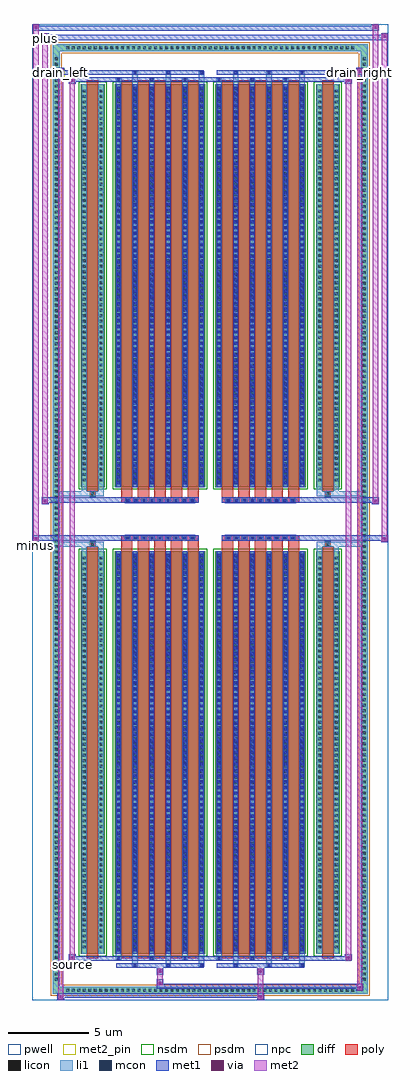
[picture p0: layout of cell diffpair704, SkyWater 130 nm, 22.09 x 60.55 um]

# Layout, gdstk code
import gdstk
lib = gdstk.Library(unit=1e-6, precision=5e-09)
def R(c, l, rs):  # rectangles x0, y0, x1, y1
    for r in rs: c.add(gdstk.rectangle(r[:2], r[2:], *l))
def A(c, l, x, y, w, h, nx, ny, dx, dy):  # array of equal rectangles
    R(c, l, [(x+i*dx, y+j*dy, x+i*dx+w, y+j*dy+h) for i in range(nx) for j in range(ny)])
def P(c, l, *ps):  # polygons
    for p in ps: c.add(gdstk.Polygon(p, *l))
pwell = (64, 44)
diff = (65, 20)
poly = (66, 20)
licon = (66, 44)
li1 = (67, 20)
mcon = (67, 44)
met1 = (68, 20)
via = (68, 44)
met2_pin = (69, 16)
met2 = (69, 20)
nsdm = (93, 44)
psdm = (94, 20)
npc = (95, 20)

diffpair704 = lib.new_cell('diffpair704')
R(diffpair704, pwell, [(-11.03,-29.84,11.03,30.71), (-8.35,-28.03,-0.01,-0.805), (0.01,-28.03,8.35,-0.805), (-8.35,0.805,-0.01,28.03), (0.01,0.805,8.35,28.03)])
A(diffpair704, diff, -9.045, -29.44, 0.41, 0.41, 53, 2, 0.34, 58.47)
A(diffpair704, diff, -9.76, -28.765, 0.41, 0.41, 1, 169, 0, 0.34)
A(diffpair704, diff, 9.35, -28.765, 0.41, 0.41, 1, 169, 0, 0.34)
R(diffpair704, diff, [(-9.045,-29.44,9.045,-29.03), (-9.76,-28.765,-9.35,28.765), (9.35,-28.765,9.76,28.765), (-8.04,-26.985,-6.56,-1.985), (-5.92,-26.985,-0.32,-1.985), (0.32,-26.985,5.92,-1.985), (6.56,-26.985,8.04,-1.985), (-8.04,1.985,-6.56,26.985), (-5.92,1.985,-0.32,26.985), (0.32,1.985,5.92,26.985), (6.56,1.985,8.04,26.985), (-9.045,29.03,9.045,29.44)])
P(diffpair704, diff, [(9.76,29.44),(-9.76,29.44),(-9.76,-29.03),(-9.35,-29.03),(-9.35,29.03),(9.35,29.03),(9.35,-29.03),(-9.35,-29.03),(-9.76,-29.03),(-9.76,-29.44),(9.76,-29.44)])
A(diffpair704, poly, -5.53, -27.235, 0.7, 25.5, 5, 2, 1.03, 28.97)
A(diffpair704, poly, 0.71, -27.235, 0.7, 25.5, 5, 2, 1.03, 28.97)
A(diffpair704, poly, -5.53, -1.735, 0.7, 0.4, 5, 2, 1.03, 3.07)
A(diffpair704, poly, 0.71, -1.735, 0.7, 0.4, 5, 2, 1.03, 3.07)
A(diffpair704, poly, -5.285, -1.335, 0.33, 0.33, 9, 2, 0.5, 2.34)
A(diffpair704, poly, 0.955, -1.335, 0.33, 0.33, 9, 2, 0.5, 2.34)
R(diffpair704, poly, [(-7.65,-27.235,-6.95,-1.735), (6.95,-27.235,7.65,-1.735), (-7.465,-1.735,-7.135,-1.405), (-7.465,-1.735,-7.135,-1.405), (7.135,-1.735,7.465,-1.405), (7.135,-1.735,7.465,-1.405), (-5.53,-1.335,-0.71,-1.005), (0.71,-1.335,5.53,-1.005), (-5.53,1.005,-0.71,1.335), (0.71,1.005,5.53,1.335), (-7.465,1.405,-7.135,1.735), (-7.465,1.405,-7.135,1.735), (7.135,1.405,7.465,1.735), (7.135,1.405,7.465,1.735), (-7.65,1.735,-6.95,27.235), (6.95,1.735,7.65,27.235)])
A(diffpair704, licon, -8.925, -29.32, 0.17, 0.17, 53, 2, 0.34, 58.47)
A(diffpair704, licon, -9.64, -28.645, 0.17, 0.17, 1, 169, 0, 0.34)
A(diffpair704, licon, 9.47, -28.645, 0.17, 0.17, 1, 169, 0, 0.34)
A(diffpair704, licon, -7.9, -26.64, 0.17, 0.17, 1, 72, 0, 0.34)
A(diffpair704, licon, -6.87, -26.64, 0.17, 0.17, 1, 72, 0, 0.34)
A(diffpair704, licon, -5.78, -26.64, 0.17, 0.17, 6, 72, 1.03, 0.34)
A(diffpair704, licon, 0.46, -26.64, 0.17, 0.17, 6, 72, 1.03, 0.34)
A(diffpair704, licon, 6.7, -26.64, 0.17, 0.17, 1, 72, 0, 0.34)
A(diffpair704, licon, 7.73, -26.64, 0.17, 0.17, 1, 72, 0, 0.34)
A(diffpair704, licon, -5.205, -1.255, 0.17, 0.17, 9, 2, 0.5, 2.34)
A(diffpair704, licon, 1.035, -1.255, 0.17, 0.17, 9, 2, 0.5, 2.34)
A(diffpair704, licon, -7.9, 2.33, 0.17, 0.17, 1, 72, 0, 0.34)
A(diffpair704, licon, -6.87, 2.33, 0.17, 0.17, 1, 72, 0, 0.34)
A(diffpair704, licon, -5.78, 2.33, 0.17, 0.17, 6, 72, 1.03, 0.34)
A(diffpair704, licon, 0.46, 2.33, 0.17, 0.17, 6, 72, 1.03, 0.34)
A(diffpair704, licon, 6.7, 2.33, 0.17, 0.17, 1, 72, 0, 0.34)
A(diffpair704, licon, 7.73, 2.33, 0.17, 0.17, 1, 72, 0, 0.34)
R(diffpair704, licon, [(-7.385,-1.655,-7.215,-1.485), (7.215,-1.655,7.385,-1.485), (-7.385,1.485,-7.215,1.655), (7.215,1.485,7.385,1.655)])
A(diffpair704, li1, -9.005, -29.4, 0.33, 0.33, 53, 2, 0.34, 58.47)
A(diffpair704, li1, -9.72, -28.725, 0.33, 0.33, 1, 169, 0, 0.34)
A(diffpair704, li1, 9.39, -28.725, 0.33, 0.33, 1, 169, 0, 0.34)
A(diffpair704, li1, -4.83, -27.79, 0.33, 0.805, 3, 2, 2.06, 54.775)
A(diffpair704, li1, -4.75, -27.79, 0.17, 0.17, 3, 2, 2.06, 55.41)
A(diffpair704, li1, 1.41, -27.79, 0.33, 0.805, 3, 2, 2.06, 54.775)
A(diffpair704, li1, 1.49, -27.79, 0.17, 0.17, 3, 2, 2.06, 55.41)
A(diffpair704, li1, -5.86, -27.36, 0.33, 0.375, 3, 2, 2.06, 54.345)
A(diffpair704, li1, -5.78, -27.36, 0.17, 0.17, 3, 2, 2.06, 54.55)
A(diffpair704, li1, 0.38, -27.36, 0.33, 0.375, 3, 2, 2.06, 54.345)
A(diffpair704, li1, 0.46, -27.36, 0.17, 0.17, 3, 2, 2.06, 54.55)
A(diffpair704, li1, -5.86, -26.985, 0.33, 25, 6, 2, 1.03, 28.97)
A(diffpair704, li1, 0.38, -26.985, 0.33, 25, 6, 2, 1.03, 28.97)
A(diffpair704, li1, -5.78, -26.81, 0.17, 0.17, 6, 69, 1.03, 0.36)
A(diffpair704, li1, -5.78, -26.81, 0.17, 24.65, 6, 2, 1.03, 28.97)
A(diffpair704, li1, 0.46, -26.81, 0.17, 0.17, 6, 69, 1.03, 0.36)
A(diffpair704, li1, 0.46, -26.81, 0.17, 24.65, 6, 2, 1.03, 28.97)
A(diffpair704, li1, -7.98, -26.72, 0.33, 0.33, 1, 72, 0, 0.34)
A(diffpair704, li1, -6.95, -26.72, 0.33, 0.33, 1, 72, 0, 0.34)
A(diffpair704, li1, -5.86, -26.72, 0.33, 0.33, 6, 72, 1.03, 0.34)
A(diffpair704, li1, 0.38, -26.72, 0.33, 0.33, 6, 72, 1.03, 0.34)
A(diffpair704, li1, 6.62, -26.72, 0.33, 0.33, 1, 72, 0, 0.34)
A(diffpair704, li1, 7.65, -26.72, 0.33, 0.33, 1, 72, 0, 0.34)
A(diffpair704, li1, -5.285, -1.335, 0.33, 0.33, 9, 2, 0.5, 2.34)
A(diffpair704, li1, 0.955, -1.335, 0.33, 0.33, 9, 2, 0.5, 2.34)
A(diffpair704, li1, -5.78, 2.16, 0.17, 0.17, 6, 69, 1.03, 0.36)
A(diffpair704, li1, 0.46, 2.16, 0.17, 0.17, 6, 69, 1.03, 0.36)
A(diffpair704, li1, -7.98, 2.25, 0.33, 0.33, 1, 72, 0, 0.34)
A(diffpair704, li1, -6.95, 2.25, 0.33, 0.33, 1, 72, 0, 0.34)
A(diffpair704, li1, -5.86, 2.25, 0.33, 0.33, 6, 72, 1.03, 0.34)
A(diffpair704, li1, 0.38, 2.25, 0.33, 0.33, 6, 72, 1.03, 0.34)
A(diffpair704, li1, 6.62, 2.25, 0.33, 0.33, 1, 72, 0, 0.34)
A(diffpair704, li1, 7.65, 2.25, 0.33, 0.33, 1, 72, 0, 0.34)
R(diffpair704, li1, [(-9.76,-29.44,-9.35,-29.03), (-9.76,-29.44,-9.35,-29.03), (-9.35,-29.44,9.35,-29.03), (9.35,-29.44,9.76,-29.03), (9.35,-29.44,9.76,-29.03), (-9.76,-29.03,-9.35,29.03), (9.35,-29.03,9.76,29.03), (-7.98,-26.985,-7.65,-1.985), (-6.95,-26.985,-6.62,-1.985), (6.62,-26.985,6.95,-1.985), (7.65,-26.985,7.98,-1.985), (-7.98,-1.985,-7.65,-1.405), (-6.95,-1.985,-6.62,-1.405), (6.62,-1.985,6.95,-1.405), (7.65,-1.985,7.98,-1.405), (-9.76,-1.735,-7.465,-1.405), (-7.98,-1.735,-7.465,-1.405), (-7.465,-1.735,-7.135,-1.405), (-7.135,-1.735,-6.62,-1.405), (6.62,-1.735,7.135,-1.405), (7.135,-1.735,7.465,-1.405), (7.135,-1.735,9.76,-1.405), (7.465,-1.735,7.98,-1.405), (-9.76,1.405,-7.465,1.735), (-7.98,1.405,-7.465,1.735), (-7.98,1.405,-7.65,1.985), (-7.465,1.405,-7.135,1.735), (-7.135,1.405,-6.62,1.735), (-6.95,1.405,-6.62,1.985), (6.62,1.405,7.135,1.735), (6.62,1.405,6.95,1.985), (7.135,1.405,7.465,1.735), (7.135,1.405,9.76,1.735), (7.465,1.405,7.98,1.735), (7.65,1.405,7.98,1.985), (-7.98,1.985,-7.65,26.985), (-6.95,1.985,-6.62,26.985), (6.62,1.985,6.95,26.985), (7.65,1.985,7.98,26.985), (-9.76,29.03,-9.35,29.44), (-9.76,29.03,-9.35,29.44), (-9.35,29.03,9.35,29.44), (9.35,29.03,9.76,29.44), (9.35,29.03,9.76,29.44)])
A(diffpair704, mcon, -4.75, -27.79, 0.17, 0.17, 3, 2, 2.06, 55.41)
A(diffpair704, mcon, 1.49, -27.79, 0.17, 0.17, 3, 2, 2.06, 55.41)
A(diffpair704, mcon, -5.78, -27.36, 0.17, 0.17, 3, 2, 2.06, 54.55)
A(diffpair704, mcon, 0.46, -27.36, 0.17, 0.17, 3, 2, 2.06, 54.55)
A(diffpair704, mcon, -5.78, -26.81, 0.17, 0.17, 6, 69, 1.03, 0.36)
A(diffpair704, mcon, 0.46, -26.81, 0.17, 0.17, 6, 69, 1.03, 0.36)
A(diffpair704, mcon, -5.205, -1.255, 0.17, 0.17, 9, 2, 0.5, 2.34)
A(diffpair704, mcon, 1.035, -1.255, 0.17, 0.17, 9, 2, 0.5, 2.34)
A(diffpair704, mcon, -5.78, 2.16, 0.17, 0.17, 6, 69, 1.03, 0.36)
A(diffpair704, mcon, 0.46, 2.16, 0.17, 0.17, 6, 69, 1.03, 0.36)
A(diffpair704, met1, -4.81, -27.85, 0.29, 0.29, 3, 2, 2.06, 55.41)
A(diffpair704, met1, 1.43, -27.85, 0.29, 0.29, 3, 2, 2.06, 55.41)
A(diffpair704, met1, -5.84, -27.42, 0.29, 0.29, 3, 2, 2.06, 54.55)
A(diffpair704, met1, 0.4, -27.42, 0.29, 0.29, 3, 2, 2.06, 54.55)
A(diffpair704, met1, -5.84, -26.985, 0.29, 25, 6, 2, 1.03, 28.97)
A(diffpair704, met1, 0.4, -26.985, 0.29, 25, 6, 2, 1.03, 28.97)
A(diffpair704, met1, -5.84, -26.87, 0.29, 0.29, 6, 69, 1.03, 0.36)
A(diffpair704, met1, 0.4, -26.87, 0.29, 0.29, 6, 69, 1.03, 0.36)
A(diffpair704, met1, -5.265, -1.315, 0.29, 0.29, 9, 2, 0.5, 2.34)
A(diffpair704, met1, 0.975, -1.315, 0.29, 0.29, 9, 2, 0.5, 2.34)
A(diffpair704, met1, -5.84, 2.1, 0.29, 0.29, 6, 69, 1.03, 0.36)
A(diffpair704, met1, 0.4, 2.1, 0.29, 0.29, 6, 69, 1.03, 0.36)
R(diffpair704, met1, [(-9.49,-29.84,-9.06,-29.41), (2.905,-29.84,3.335,-29.41), (-9.49,-29.7,3.335,-29.41), (9.06,-29.27,9.49,-28.84), (-3.335,-29.13,9.49,-28.84), (-3.335,-28.99,-2.905,-28.56), (-3.335,-28.28,-2.905,-27.85), (2.905,-28.28,3.335,-27.85), (-5.84,-27.85,-0.4,-27.56), (0.4,-27.85,5.84,-27.56), (-8.78,-27.42,-8.35,-26.99), (-8.78,-27.42,-5.84,-27.13), (-5.84,-27.42,-0.4,-27.13), (-0.4,-27.42,0.4,-27.13), (0.4,-27.42,5.84,-27.13), (5.84,-27.42,8.78,-27.13), (8.35,-27.42,8.78,-26.99), (-11.03,-1.435,-10.6,-1.005), (10.6,-1.435,11.03,-1.005), (-11.03,-1.335,-0.71,-1.005), (-5.53,-1.335,-0.71,-1.005), (0.71,-1.335,5.53,-1.005), (0.71,-1.335,11.03,-1.005), (-10.46,0.905,-10.03,1.335), (10.03,0.905,10.46,1.335), (-10.46,1.005,-5.53,1.335), (-5.53,1.005,-0.71,1.335), (0.71,1.005,5.53,1.335), (5.53,1.005,10.46,1.335), (-8.78,26.99,-8.35,27.42), (8.35,26.99,8.78,27.42), (-8.78,27.13,-5.84,27.42), (-5.84,27.13,-0.4,27.42), (-0.4,27.13,0.4,27.42), (0.4,27.13,5.84,27.42), (5.84,27.13,8.78,27.42), (-9.49,27.56,-9.06,27.99), (-9.49,27.56,-5.84,27.85), (-5.84,27.56,-0.4,27.85), (0.4,27.56,5.84,27.85), (5.84,27.56,9.49,27.85), (9.06,27.56,9.49,27.99), (-10.46,29.71,-10.03,30.14), (-10.46,29.71,-8.35,30.04), (-8.35,29.71,8.35,30.04), (8.35,29.71,11.03,30.04), (10.6,29.71,11.03,30.14), (-11.03,30.28,-10.6,30.71), (-11.03,30.28,-8.35,30.61), (-8.35,30.28,8.35,30.61), (8.35,30.28,10.46,30.61), (10.03,30.28,10.46,30.71)])
R(diffpair704, via, [(-9.35,-29.7,-9.2,-29.55), (3.045,-29.7,3.195,-29.55), (9.2,-29.13,9.35,-28.98), (-3.195,-28.85,-3.045,-28.7), (-3.195,-28.14,-3.045,-27.99), (3.045,-28.14,3.195,-27.99), (-8.64,-27.28,-8.49,-27.13), (8.49,-27.28,8.64,-27.13), (-10.89,-1.295,-10.74,-1.145), (10.74,-1.295,10.89,-1.145), (-10.32,1.045,-10.17,1.195), (10.17,1.045,10.32,1.195), (-8.64,27.13,-8.49,27.28), (8.49,27.13,8.64,27.28), (-9.35,27.7,-9.2,27.85), (9.2,27.7,9.35,27.85), (-10.32,29.85,-10.17,30), (10.74,29.85,10.89,30), (-10.89,30.42,-10.74,30.57), (10.17,30.42,10.32,30.57)])
R(diffpair704, met2_pin, [(-8.815,-27.87,-8.315,-27.37), (-11.065,-1.885,-10.565,-1.385), (-9.525,27.44,-9.025,27.94), (9.025,27.44,9.525,27.94), (-10.495,29.59,-9.995,30.09)])
R(diffpair704, met2, [(-9.44,-29.79,-9.11,-29.46), (-9.44,-29.79,-9.11,27.94), (2.955,-29.79,3.285,-29.46), (2.955,-29.46,3.285,-28.23), (9.11,-29.22,9.44,-28.89), (9.11,-29.22,9.44,27.94), (-3.285,-28.94,-2.955,-28.61), (-3.285,-28.61,-2.955,-28.23), (-3.285,-28.23,-2.955,-27.9), (2.955,-28.23,3.285,-27.9), (-8.73,-27.37,-8.4,-27.04), (-8.73,-27.37,-8.4,27.37), (8.4,-27.37,8.73,-27.04), (8.4,-27.37,8.73,27.37), (-10.98,-1.385,-10.65,-1.055), (-10.98,-1.385,-10.65,30.66), (10.65,-1.385,10.98,-1.055), (10.65,-1.385,10.98,30.09), (-10.41,0.955,-10.08,1.285), (-10.41,0.955,-10.08,30.09), (10.08,0.955,10.41,1.285), (10.08,0.955,10.41,30.66), (-8.73,27.04,-8.4,27.37), (8.4,27.04,8.73,27.37), (-9.44,27.61,-9.11,27.94), (9.11,27.61,9.44,27.94), (-10.41,29.76,-10.08,30.09), (10.65,29.76,10.98,30.09), (-10.98,30.33,-10.65,30.66), (10.08,30.33,10.41,30.66)])
P(diffpair704, met2, [(10.98,-1.385),(10.98,-1.385),(10.98,-1.055),(10.98,-1.055)],
  [(10.98,29.76),(10.98,29.76),(10.98,30.09),(10.98,30.09)],
  [(-10.65,-1.385),(-10.65,-1.385),(-10.65,-1.055),(-10.65,-1.055)],
  [(-10.65,30.33),(-10.65,30.33),(-10.65,30.66),(-10.65,30.66)],
  [(10.41,0.955),(10.41,0.955),(10.41,1.285),(10.41,1.285)],
  [(10.41,30.33),(10.41,30.33),(10.41,30.66),(10.41,30.66)],
  [(-10.08,0.955),(-10.08,0.955),(-10.08,1.285),(-10.08,1.285)],
  [(-10.08,29.76),(-10.08,29.76),(-10.08,30.09),(-10.08,30.09)],
  [(-9.11,-29.79),(-9.11,-29.79),(-9.11,-29.46),(-9.11,-29.46)],
  [(-9.11,27.61),(-9.11,27.61),(-9.11,27.94),(-9.11,27.94)],
  [(9.44,-29.22),(9.44,-29.22),(9.44,-28.89),(9.44,-28.89)],
  [(9.44,27.61),(9.44,27.61),(9.44,27.94),(9.44,27.94)],
  [(-8.4,-27.37),(-8.4,-27.37),(-8.4,-27.04),(-8.4,-27.04)],
  [(-8.4,27.04),(-8.4,27.04),(-8.4,27.37),(-8.4,27.37)],
  [(8.73,-27.37),(8.73,-27.37),(8.73,-27.04),(8.73,-27.04)],
  [(8.73,27.04),(8.73,27.04),(8.73,27.37),(8.73,27.37)])
R(diffpair704, nsdm, [(-8.17,-27.115,-6.43,-1.855), (-6.05,-27.115,-0.19,-1.855), (0.19,-27.115,6.05,-1.855), (6.43,-27.115,8.17,-1.855), (-8.17,1.855,-6.43,27.115), (-6.05,1.855,-0.19,27.115), (0.19,1.855,6.05,27.115), (6.43,1.855,8.17,27.115)])
P(diffpair704, psdm, [(9.89,29.57),(-9.89,29.57),(-9.89,-28.9),(-9.22,-28.9),(-9.22,28.9),(9.22,28.9),(9.22,-28.9),(-9.22,-28.9),(-9.89,-28.9),(-9.89,-29.57),(9.89,-29.57)])
A(diffpair704, npc, -5.305, -1.355, 0.37, 0.37, 9, 2, 0.5, 2.34)
A(diffpair704, npc, 0.935, -1.355, 0.37, 0.37, 9, 2, 0.5, 2.34)
R(diffpair704, npc, [(-7.485,-1.755,-7.115,-1.385), (7.115,-1.755,7.485,-1.385), (-5.305,-1.355,-4.435,-0.985), (-5.305,-1.355,-4.435,-0.985), (-4.805,-1.355,-3.935,-0.985), (-4.805,-1.355,-3.935,-0.985), (-4.305,-1.355,-3.435,-0.985), (-4.305,-1.355,-3.435,-0.985), (-3.805,-1.355,-2.935,-0.985), (-3.805,-1.355,-2.935,-0.985), (-3.305,-1.355,-2.435,-0.985), (-3.305,-1.355,-2.435,-0.985), (-2.805,-1.355,-1.935,-0.985), (-2.805,-1.355,-1.935,-0.985), (-2.305,-1.355,-1.435,-0.985), (-2.305,-1.355,-1.435,-0.985), (-1.805,-1.355,-0.935,-0.985), (-1.805,-1.355,-0.935,-0.985), (0.935,-1.355,1.805,-0.985), (0.935,-1.355,1.805,-0.985), (1.435,-1.355,2.305,-0.985), (1.435,-1.355,2.305,-0.985), (1.935,-1.355,2.805,-0.985), (1.935,-1.355,2.805,-0.985), (2.435,-1.355,3.305,-0.985), (2.435,-1.355,3.305,-0.985), (2.935,-1.355,3.805,-0.985), (2.935,-1.355,3.805,-0.985), (3.435,-1.355,4.305,-0.985), (3.435,-1.355,4.305,-0.985), (3.935,-1.355,4.805,-0.985), (3.935,-1.355,4.805,-0.985), (4.435,-1.355,5.305,-0.985), (4.435,-1.355,5.305,-0.985), (-5.305,0.985,-4.435,1.355), (-5.305,0.985,-4.435,1.355), (-4.805,0.985,-3.935,1.355), (-4.805,0.985,-3.935,1.355), (-4.305,0.985,-3.435,1.355), (-4.305,0.985,-3.435,1.355), (-3.805,0.985,-2.935,1.355), (-3.805,0.985,-2.935,1.355), (-3.305,0.985,-2.435,1.355), (-3.305,0.985,-2.435,1.355), (-2.805,0.985,-1.935,1.355), (-2.805,0.985,-1.935,1.355), (-2.305,0.985,-1.435,1.355), (-2.305,0.985,-1.435,1.355), (-1.805,0.985,-0.935,1.355), (-1.805,0.985,-0.935,1.355), (0.935,0.985,1.805,1.355), (0.935,0.985,1.805,1.355), (1.435,0.985,2.305,1.355), (1.435,0.985,2.305,1.355), (1.935,0.985,2.805,1.355), (1.935,0.985,2.805,1.355), (2.435,0.985,3.305,1.355), (2.435,0.985,3.305,1.355), (2.935,0.985,3.805,1.355), (2.935,0.985,3.805,1.355), (3.435,0.985,4.305,1.355), (3.435,0.985,4.305,1.355), (3.935,0.985,4.805,1.355), (3.935,0.985,4.805,1.355), (4.435,0.985,5.305,1.355), (4.435,0.985,5.305,1.355), (-7.485,1.385,-7.115,1.755), (7.115,1.385,7.485,1.755)])
diffpair704.add(gdstk.Label('minus', (-10.815,-1.635), layer=69, texttype=5))
diffpair704.add(gdstk.Label('drain_right', (9.275,27.69), layer=69, texttype=5))
diffpair704.add(gdstk.Label('drain_left', (-9.275,27.69), layer=69, texttype=5))
diffpair704.add(gdstk.Label('source', (-8.565,-27.62), layer=69, texttype=5))
diffpair704.add(gdstk.Label('plus', (-10.245,29.84), layer=69, texttype=5))

lib.write_gds('diffpair704.gds')
